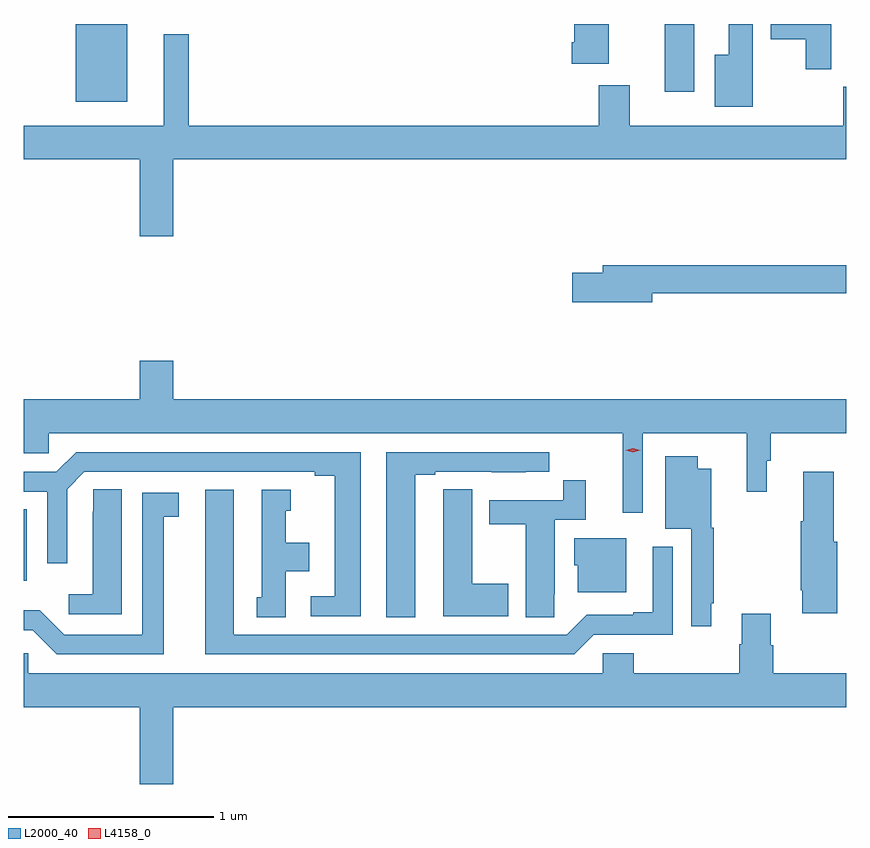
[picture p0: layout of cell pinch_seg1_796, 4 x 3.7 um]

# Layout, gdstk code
import gdstk
lib = gdstk.Library(unit=1e-6, precision=1e-09)
def R(c, l, rs):  # rectangles x0, y0, x1, y1
    for r in rs: c.add(gdstk.rectangle(r[:2], r[2:], *l))
def P(c, l, *ps):  # polygons
    for p in ps: c.add(gdstk.Polygon(p, *l))
L2000_40 = (2000, 40)
L4158_0 = (4158, 0)

pinch_seg1_796 = lib.new_cell('pinch_seg1_796')
R(pinch_seg1_796, L2000_40, [(416.192,555.011,416.206,555.359), (416.444,557.339,416.695,557.718), (419.309,557.388,419.452,557.718)])
P(pinch_seg1_796, L2000_40, [(420.118,557.718),(419.825,557.718),(419.825,557.645),(419.996,557.645),(419.996,557.499),(420.118,557.499)],
  [(419.038,557.718),(418.868,557.718),(418.868,557.629),(418.856,557.629),(418.856,557.525),(419.038,557.525)],
  [(419.737,557.718),(419.621,557.718),(419.621,557.569),(419.552,557.569),(419.552,557.315),(419.737,557.315)],
  [(416.92,557.06),(420.192,557.06),(420.192,557.413),(420.178,557.413),(420.178,557.224),(419.14,557.224),(419.14,557.419),(418.988,557.419),(418.988,557.224),(416.995,557.224),(416.995,557.668),(416.873,557.668),(416.873,557.224),(416.192,557.224),(416.192,557.06),(416.756,557.06),(416.756,556.686),(416.92,556.686)],
  [(419.248,556.408),(420.192,556.408),(420.192,556.544),(419.009,556.544),(419.009,556.508),(418.86,556.508),(418.86,556.366),(419.248,556.366)],
  [(419.202,555.728),(419.707,555.728),(419.707,555.444),(419.806,555.444),(419.806,555.594),(419.825,555.594),(419.825,555.728),(420.192,555.728),(420.192,555.892),(416.92,555.892),(416.92,556.081),(416.756,556.081),(416.756,555.892),(416.192,555.892),(416.192,555.63),(416.313,555.63),(416.313,555.728),(419.105,555.728),(419.105,555.342),(419.202,555.342)],
  [(418.096,555.525),(418.192,555.525),(418.192,555.54),(418.468,555.54),(418.468,555.539),(418.634,555.539),(418.634,555.54),(418.747,555.54),(418.747,555.636),(417.956,555.636),(417.956,554.833),(418.096,554.833)],
  [(417.832,555.636),(416.447,555.636),(416.351,555.54),(416.192,555.54),(416.192,555.444),(416.307,555.444),(416.307,555.096),(416.403,555.096),(416.403,555.456),(416.487,555.54),(417.608,555.54),(417.608,555.52),(417.704,555.52),(417.704,554.934),(417.588,554.934),(417.588,554.838),(417.832,554.838)],
  [(419.536,554.902),(419.548,554.902),(419.548,555.267),(419.536,555.267),(419.536,555.556),(419.47,555.556),(419.47,555.616),(419.312,555.616),(419.312,555.263),(419.439,555.263),(419.439,554.79),(419.536,554.79)],
  [(420.149,555.201),(420.131,555.201),(420.131,555.541),(419.984,555.541),(419.984,555.301),(419.971,555.301),(419.971,554.965),(419.978,554.965),(419.978,554.853),(420.149,554.853)],
  [(418.773,554.944),(418.774,554.944),(418.774,555.306),(418.925,555.306),(418.925,555.499),(418.816,555.499),(418.816,555.402),(418.457,555.402),(418.457,555.286),(418.634,555.286),(418.634,554.833),(418.773,554.833)],
  [(416.668,555.455),(416.529,555.455),(416.529,555.347),(416.528,555.347),(416.528,554.944),(416.412,554.944),(416.412,554.847),(416.668,554.847)],
  [(418.549,554.997),(418.372,554.997),(418.372,555.455),(418.233,555.455),(418.233,555.347),(418.232,555.347),(418.232,554.837),(418.549,554.837)],
  [(417.466,555.056),(417.58,555.056),(417.58,555.196),(417.466,555.196),(417.466,555.351),(417.49,555.351),(417.49,555.454),(417.35,555.454),(417.35,554.931),(417.326,554.931),(417.326,554.833),(417.466,554.833)],
  [(418.965,554.748),(419.349,554.748),(419.349,555.175),(419.252,555.175),(419.252,554.857),(419.156,554.857),(419.156,554.844),(418.929,554.844),(418.833,554.748),(417.214,554.748),(417.214,555.454),(417.074,555.454),(417.074,554.652),(418.869,554.652)],
  [(416.872,555.322),(416.947,555.322),(416.947,555.438),(416.768,555.438),(416.768,554.748),(416.388,554.748),(416.27,554.866),(416.192,554.866),(416.192,554.769),(416.235,554.769),(416.352,554.652),(416.872,554.652)],
  [(419.122,555.217),(418.868,555.217),(418.868,555.087),(418.886,555.087),(418.886,554.954),(419.122,554.954)],
  [(416.92,554.396),(420.192,554.396),(420.192,554.56),(419.837,554.56),(419.837,554.697),(419.824,554.697),(419.824,554.851),(419.684,554.851),(419.684,554.702),(419.672,554.702),(419.672,554.56),(419.159,554.56),(419.159,554.658),(419.007,554.658),(419.007,554.56),(416.214,554.56),(416.214,554.658),(416.192,554.658),(416.192,554.396),(416.756,554.396),(416.756,554.022),(416.92,554.022)])
P(pinch_seg1_796, L4158_0, [(419.154,555.636),(419.119,555.646),(419.119,555.646),(419.119,555.646),(419.154,555.656),(419.189,555.646),(419.189,555.646),(419.189,555.646)])

lib.write_gds('pinch_seg1_796.gds')
